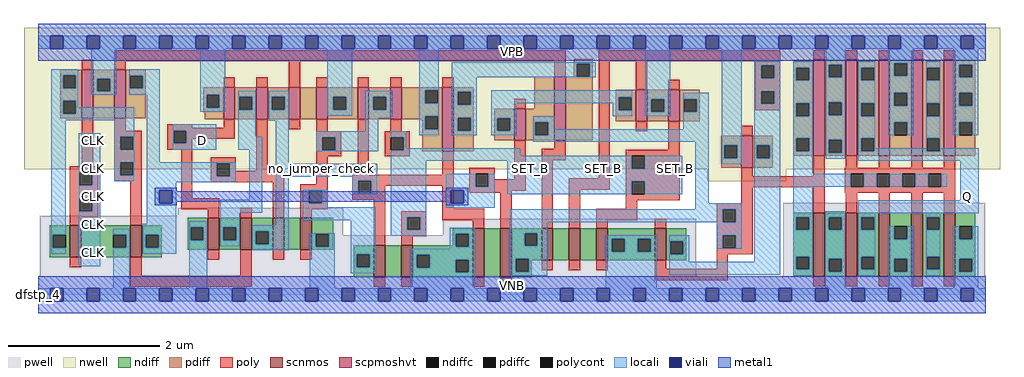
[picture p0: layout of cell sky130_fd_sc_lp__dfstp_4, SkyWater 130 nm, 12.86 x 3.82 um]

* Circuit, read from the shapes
.subckt sky130_fd_sc_lp__dfstp_4 CLK D SET_B VGND VNB VPB VPWR Q
XM1 VGND CLK n1 VNB sky130_fd_pr__nfet_01v8 w=0.42 l=0.15
XM2 n2 n1 VGND VNB sky130_fd_pr__nfet_01v8 w=0.42 l=0.15
XM3 n3 D VGND VNB sky130_fd_pr__nfet_01v8 w=0.42 l=0.15
XM4 n4 n1 n3 VNB sky130_fd_pr__nfet_01v8 w=0.42 l=0.15
XM5 n5 n2 n4 VNB sky130_fd_pr__nfet_01v8 w=0.42 l=0.15
XM6 VGND n6 n5 VNB sky130_fd_pr__nfet_01v8 w=0.42 l=0.15
XM7 n7 n4 n6 VNB sky130_fd_pr__nfet_01v8 w=0.42 l=0.15
XM8 VGND SET_B n7 VNB sky130_fd_pr__nfet_01v8 w=0.42 l=0.15
XM9 n8 n4 VGND VNB sky130_fd_pr__nfet_01v8 w=0.64 l=0.15
XM10 n9 n2 n8 VNB sky130_fd_pr__nfet_01v8 w=0.64 l=0.15
XM11 n10 n1 n9 VNB sky130_fd_pr__nfet_01v8 w=0.42 l=0.15
XM12 n11 n12 n10 VNB sky130_fd_pr__nfet_01v8 w=0.42 l=0.15
XM13 VGND SET_B n11 VNB sky130_fd_pr__nfet_01v8 w=0.42 l=0.15
XM14 n12 n9 VGND VNB sky130_fd_pr__nfet_01v8 w=0.42 l=0.15
XM15 VGND n9 n13 VNB sky130_fd_pr__nfet_01v8 w=0.84 l=0.15
XM16 Q n13 VGND VNB sky130_fd_pr__nfet_01v8 w=0.84 l=0.15 m=4
XM17 VPWR CLK n1 VPB sky130_fd_pr__pfet_01v8_hvt w=0.64 l=0.15
XM18 n2 n1 VPWR VPB sky130_fd_pr__pfet_01v8_hvt w=0.64 l=0.15
XM19 n3 D VPWR VPB sky130_fd_pr__pfet_01v8_hvt w=0.42 l=0.15
XM20 n4 n2 n3 VPB sky130_fd_pr__pfet_01v8_hvt w=0.42 l=0.15
XM21 n14 n1 n4 VPB sky130_fd_pr__pfet_01v8_hvt w=0.42 l=0.15
XM22 VPWR n6 n14 VPB sky130_fd_pr__pfet_01v8_hvt w=0.42 l=0.15
XM23 n6 n4 VPWR VPB sky130_fd_pr__pfet_01v8_hvt w=0.42 l=0.15
XM24 VPWR SET_B n6 VPB sky130_fd_pr__pfet_01v8_hvt w=0.42 l=0.15
XM25 n15 n4 VPWR VPB sky130_fd_pr__pfet_01v8_hvt w=0.84 l=0.15
XM26 n9 n2 n16 VPB sky130_fd_pr__pfet_01v8_hvt w=0.42 l=0.15
XM27 n15 n1 n9 VPB sky130_fd_pr__pfet_01v8_hvt w=0.84 l=0.15
XM28 VPWR n12 n16 VPB sky130_fd_pr__pfet_01v8_hvt w=0.42 l=0.15
XM29 n9 SET_B VPWR VPB sky130_fd_pr__pfet_01v8_hvt w=0.42 l=0.15
XM30 n12 n9 VPWR VPB sky130_fd_pr__pfet_01v8_hvt w=0.42 l=0.15
XM31 VPWR n9 n13 VPB sky130_fd_pr__pfet_01v8_hvt w=1.26 l=0.15
XM32 Q n13 VPWR VPB sky130_fd_pr__pfet_01v8_hvt w=1.26 l=0.15 m=4
.ends

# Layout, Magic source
magic
tech sky130A
magscale 1 2
<< nwell >>
rect -38 331 2534 704
rect 1763 299 1971 331
<< pwell >>
rect 367 209 803 229
rect 4 157 803 209
rect 1066 157 1733 201
rect 4 49 1733 157
rect 1963 49 2495 243
rect 0 0 2496 49
<< scnmos >>
rect 83 99 113 183
rect 242 99 272 183
rect 446 119 476 203
rect 532 119 562 203
rect 618 119 648 203
rect 690 119 720 203
rect 884 47 914 131
rect 956 47 986 131
rect 1145 47 1175 175
rect 1217 47 1247 175
rect 1326 91 1356 175
rect 1398 91 1428 175
rect 1470 91 1500 175
rect 1624 91 1654 175
rect 2042 49 2072 217
rect 2128 49 2158 217
rect 2214 49 2244 217
rect 2300 49 2330 217
rect 2386 49 2416 217
<< scpmoshvt >>
rect 114 465 144 593
rect 200 465 230 593
rect 488 463 518 547
rect 574 463 604 547
rect 660 463 690 547
rect 732 463 762 547
rect 841 463 871 547
rect 927 463 957 547
rect 1064 379 1094 547
rect 1254 407 1284 491
rect 1359 407 1389 575
rect 1574 457 1604 541
rect 1660 457 1690 541
rect 1852 335 1882 419
rect 2042 367 2072 619
rect 2128 367 2158 619
rect 2214 367 2244 619
rect 2300 367 2330 619
rect 2386 367 2416 619
<< ndiff >>
rect 30 158 83 183
rect 30 124 38 158
rect 72 124 83 158
rect 30 99 83 124
rect 113 158 242 183
rect 113 124 197 158
rect 231 124 242 158
rect 113 99 242 124
rect 272 158 325 183
rect 272 124 283 158
rect 317 124 325 158
rect 272 99 325 124
rect 393 178 446 203
rect 393 144 401 178
rect 435 144 446 178
rect 393 119 446 144
rect 476 178 532 203
rect 476 144 487 178
rect 521 144 532 178
rect 476 119 532 144
rect 562 167 618 203
rect 562 133 573 167
rect 607 133 618 167
rect 562 119 618 133
rect 648 119 690 203
rect 720 161 777 203
rect 720 127 731 161
rect 765 127 777 161
rect 1092 161 1145 175
rect 1092 131 1100 161
rect 720 119 777 127
rect 831 107 884 131
rect 831 73 839 107
rect 873 73 884 107
rect 831 47 884 73
rect 914 47 956 131
rect 986 127 1100 131
rect 1134 127 1145 161
rect 986 106 1145 127
rect 986 72 997 106
rect 1031 93 1145 106
rect 1031 72 1100 93
rect 986 59 1100 72
rect 1134 59 1145 93
rect 986 47 1145 59
rect 1175 47 1217 175
rect 1247 163 1326 175
rect 1247 129 1281 163
rect 1315 129 1326 163
rect 1247 95 1326 129
rect 1247 61 1258 95
rect 1292 91 1326 95
rect 1356 91 1398 175
rect 1428 91 1470 175
rect 1500 148 1624 175
rect 1500 114 1511 148
rect 1545 114 1579 148
rect 1613 114 1624 148
rect 1500 91 1624 114
rect 1654 141 1707 175
rect 1654 107 1665 141
rect 1699 107 1707 141
rect 1654 91 1707 107
rect 1989 205 2042 217
rect 1989 171 1997 205
rect 2031 171 2042 205
rect 1292 61 1300 91
rect 1247 47 1300 61
rect 1989 101 2042 171
rect 1989 67 1997 101
rect 2031 67 2042 101
rect 1989 49 2042 67
rect 2072 205 2128 217
rect 2072 171 2083 205
rect 2117 171 2128 205
rect 2072 95 2128 171
rect 2072 61 2083 95
rect 2117 61 2128 95
rect 2072 49 2128 61
rect 2158 205 2214 217
rect 2158 171 2169 205
rect 2203 171 2214 205
rect 2158 101 2214 171
rect 2158 67 2169 101
rect 2203 67 2214 101
rect 2158 49 2214 67
rect 2244 181 2300 217
rect 2244 147 2255 181
rect 2289 147 2300 181
rect 2244 95 2300 147
rect 2244 61 2255 95
rect 2289 61 2300 95
rect 2244 49 2300 61
rect 2330 205 2386 217
rect 2330 171 2341 205
rect 2375 171 2386 205
rect 2330 101 2386 171
rect 2330 67 2341 101
rect 2375 67 2386 101
rect 2330 49 2386 67
rect 2416 181 2469 217
rect 2416 147 2427 181
rect 2461 147 2469 181
rect 2416 95 2469 147
rect 2416 61 2427 95
rect 2461 61 2469 95
rect 2416 49 2469 61
<< pdiff >>
rect 57 579 114 593
rect 57 545 65 579
rect 99 545 114 579
rect 57 511 114 545
rect 57 477 65 511
rect 99 477 114 511
rect 57 465 114 477
rect 144 570 200 593
rect 144 536 155 570
rect 189 536 200 570
rect 144 465 200 536
rect 230 578 283 593
rect 230 544 241 578
rect 275 544 283 578
rect 1411 609 1461 621
rect 1411 575 1419 609
rect 1453 575 1461 609
rect 230 465 283 544
rect 435 527 488 547
rect 435 493 443 527
rect 477 493 488 527
rect 435 481 488 493
rect 438 463 488 481
rect 518 522 574 547
rect 518 488 529 522
rect 563 488 574 522
rect 518 463 574 488
rect 604 522 660 547
rect 604 488 615 522
rect 649 488 660 522
rect 604 463 660 488
rect 690 463 732 547
rect 762 522 841 547
rect 762 488 777 522
rect 811 488 841 522
rect 762 463 841 488
rect 871 522 927 547
rect 871 488 882 522
rect 916 488 927 522
rect 871 463 927 488
rect 957 539 1064 547
rect 957 505 1019 539
rect 1053 505 1064 539
rect 957 471 1064 505
rect 957 463 1019 471
rect 1011 437 1019 463
rect 1053 437 1064 471
rect 1011 379 1064 437
rect 1094 535 1147 547
rect 1094 501 1105 535
rect 1139 501 1147 535
rect 1094 467 1147 501
rect 1306 491 1359 575
rect 1094 433 1105 467
rect 1139 433 1147 467
rect 1094 379 1147 433
rect 1201 466 1254 491
rect 1201 432 1209 466
rect 1243 432 1254 466
rect 1201 407 1254 432
rect 1284 455 1359 491
rect 1284 421 1309 455
rect 1343 421 1359 455
rect 1284 407 1359 421
rect 1389 407 1461 575
rect 1521 521 1574 541
rect 1521 487 1529 521
rect 1563 487 1574 521
rect 1521 457 1574 487
rect 1604 516 1660 541
rect 1604 482 1615 516
rect 1649 482 1660 516
rect 1604 457 1660 482
rect 1690 516 1743 541
rect 1690 482 1701 516
rect 1735 482 1743 516
rect 1989 599 2042 619
rect 1989 565 1997 599
rect 2031 565 2042 599
rect 1989 505 2042 565
rect 1690 457 1743 482
rect 1989 471 1997 505
rect 2031 471 2042 505
rect 1799 394 1852 419
rect 1799 360 1807 394
rect 1841 360 1852 394
rect 1799 335 1852 360
rect 1882 394 1935 419
rect 1882 360 1893 394
rect 1927 360 1935 394
rect 1989 413 2042 471
rect 1989 379 1997 413
rect 2031 379 2042 413
rect 1989 367 2042 379
rect 2072 607 2128 619
rect 2072 573 2083 607
rect 2117 573 2128 607
rect 2072 507 2128 573
rect 2072 473 2083 507
rect 2117 473 2128 507
rect 2072 409 2128 473
rect 2072 375 2083 409
rect 2117 375 2128 409
rect 2072 367 2128 375
rect 2158 599 2214 619
rect 2158 565 2169 599
rect 2203 565 2214 599
rect 2158 505 2214 565
rect 2158 471 2169 505
rect 2203 471 2214 505
rect 2158 413 2214 471
rect 2158 379 2169 413
rect 2203 379 2214 413
rect 2158 367 2214 379
rect 2244 611 2300 619
rect 2244 577 2255 611
rect 2289 577 2300 611
rect 2244 533 2300 577
rect 2244 499 2255 533
rect 2289 499 2300 533
rect 2244 455 2300 499
rect 2244 421 2255 455
rect 2289 421 2300 455
rect 2244 367 2300 421
rect 2330 599 2386 619
rect 2330 565 2341 599
rect 2375 565 2386 599
rect 2330 505 2386 565
rect 2330 471 2341 505
rect 2375 471 2386 505
rect 2330 413 2386 471
rect 2330 379 2341 413
rect 2375 379 2386 413
rect 2330 367 2386 379
rect 2416 607 2469 619
rect 2416 573 2427 607
rect 2461 573 2469 607
rect 2416 533 2469 573
rect 2416 499 2427 533
rect 2461 499 2469 533
rect 2416 455 2469 499
rect 2416 421 2427 455
rect 2461 421 2469 455
rect 2416 367 2469 421
rect 1882 335 1935 360
<< ndiffc >>
rect 38 124 72 158
rect 197 124 231 158
rect 283 124 317 158
rect 401 144 435 178
rect 487 144 521 178
rect 573 133 607 167
rect 731 127 765 161
rect 839 73 873 107
rect 1100 127 1134 161
rect 997 72 1031 106
rect 1100 59 1134 93
rect 1281 129 1315 163
rect 1258 61 1292 95
rect 1511 114 1545 148
rect 1579 114 1613 148
rect 1665 107 1699 141
rect 1997 171 2031 205
rect 1997 67 2031 101
rect 2083 171 2117 205
rect 2083 61 2117 95
rect 2169 171 2203 205
rect 2169 67 2203 101
rect 2255 147 2289 181
rect 2255 61 2289 95
rect 2341 171 2375 205
rect 2341 67 2375 101
rect 2427 147 2461 181
rect 2427 61 2461 95
<< pdiffc >>
rect 65 545 99 579
rect 65 477 99 511
rect 155 536 189 570
rect 241 544 275 578
rect 1419 575 1453 609
rect 443 493 477 527
rect 529 488 563 522
rect 615 488 649 522
rect 777 488 811 522
rect 882 488 916 522
rect 1019 505 1053 539
rect 1019 437 1053 471
rect 1105 501 1139 535
rect 1105 433 1139 467
rect 1209 432 1243 466
rect 1309 421 1343 455
rect 1529 487 1563 521
rect 1615 482 1649 516
rect 1701 482 1735 516
rect 1997 565 2031 599
rect 1997 471 2031 505
rect 1807 360 1841 394
rect 1893 360 1927 394
rect 1997 379 2031 413
rect 2083 573 2117 607
rect 2083 473 2117 507
rect 2083 375 2117 409
rect 2169 565 2203 599
rect 2169 471 2203 505
rect 2169 379 2203 413
rect 2255 577 2289 611
rect 2255 499 2289 533
rect 2255 421 2289 455
rect 2341 565 2375 599
rect 2341 471 2375 505
rect 2341 379 2375 413
rect 2427 573 2461 607
rect 2427 499 2461 533
rect 2427 421 2461 455
<< poly >>
rect 114 593 144 619
rect 200 615 1389 645
rect 200 593 230 615
rect 488 547 518 573
rect 574 547 604 573
rect 660 547 690 615
rect 1359 575 1389 615
rect 732 547 762 573
rect 841 547 871 573
rect 927 547 957 573
rect 1064 547 1094 573
rect 114 339 144 465
rect 200 433 230 465
rect 340 441 406 449
rect 488 441 518 463
rect 340 433 518 441
rect 200 417 272 433
rect 200 383 216 417
rect 250 383 272 417
rect 340 399 356 433
rect 390 411 518 433
rect 390 399 406 411
rect 340 383 406 399
rect 200 349 272 383
rect 83 323 158 339
rect 83 289 108 323
rect 142 289 158 323
rect 200 315 216 349
rect 250 315 272 349
rect 200 299 272 315
rect 83 255 158 289
rect 83 221 108 255
rect 142 221 158 255
rect 83 205 158 221
rect 83 183 113 205
rect 242 183 272 299
rect 376 255 406 383
rect 454 347 520 363
rect 454 313 470 347
rect 504 327 520 347
rect 574 327 604 463
rect 660 437 690 463
rect 732 431 762 463
rect 732 415 798 431
rect 732 381 748 415
rect 782 381 798 415
rect 732 365 798 381
rect 504 313 648 327
rect 454 297 648 313
rect 376 225 476 255
rect 446 203 476 225
rect 532 203 562 229
rect 618 203 648 297
rect 732 291 762 365
rect 841 317 871 463
rect 927 431 957 463
rect 913 415 979 431
rect 913 381 929 415
rect 963 381 979 415
rect 913 365 979 381
rect 1254 491 1284 517
rect 1476 615 1955 645
rect 2042 619 2072 645
rect 2128 619 2158 645
rect 2214 619 2244 645
rect 2300 619 2330 645
rect 2386 619 2416 645
rect 1064 317 1094 379
rect 690 275 762 291
rect 690 241 712 275
rect 746 241 762 275
rect 827 301 1094 317
rect 827 267 843 301
rect 877 287 1094 301
rect 877 267 914 287
rect 827 251 914 267
rect 690 225 762 241
rect 690 203 720 225
rect 884 131 914 251
rect 1064 227 1094 287
rect 1136 319 1202 335
rect 1136 285 1152 319
rect 1186 305 1202 319
rect 1254 305 1284 407
rect 1359 385 1389 407
rect 1186 285 1284 305
rect 1136 275 1284 285
rect 1326 355 1389 385
rect 1136 269 1247 275
rect 956 205 1022 221
rect 956 171 972 205
rect 1006 171 1022 205
rect 1064 197 1175 227
rect 1145 175 1175 197
rect 1217 175 1247 269
rect 1326 175 1356 355
rect 1476 307 1506 615
rect 1574 541 1604 615
rect 1889 605 1955 615
rect 1889 571 1905 605
rect 1939 571 1955 605
rect 1660 541 1690 567
rect 1889 537 1955 571
rect 1889 503 1905 537
rect 1939 503 1955 537
rect 1889 487 1955 503
rect 1574 431 1604 457
rect 1660 383 1690 457
rect 1852 419 1882 445
rect 1398 277 1506 307
rect 1548 367 1690 383
rect 1548 333 1564 367
rect 1598 333 1690 367
rect 1548 299 1690 333
rect 1398 175 1428 277
rect 1548 265 1564 299
rect 1598 265 1690 299
rect 1548 249 1690 265
rect 1852 313 1882 335
rect 2042 313 2072 367
rect 2128 335 2158 367
rect 2214 335 2244 367
rect 2300 335 2330 367
rect 2386 335 2416 367
rect 1852 283 2072 313
rect 1548 227 1578 249
rect 1852 241 1882 283
rect 1470 197 1578 227
rect 1787 225 1882 241
rect 1470 175 1500 197
rect 1624 175 1654 201
rect 1787 191 1803 225
rect 1837 191 1882 225
rect 2042 217 2072 283
rect 2125 319 2416 335
rect 2125 285 2141 319
rect 2175 285 2209 319
rect 2243 285 2277 319
rect 2311 285 2345 319
rect 2379 285 2416 319
rect 2125 269 2416 285
rect 2128 217 2158 269
rect 2214 217 2244 269
rect 2300 217 2330 269
rect 2386 217 2416 269
rect 956 155 1022 171
rect 956 131 986 155
rect 83 73 113 99
rect 242 51 272 99
rect 446 93 476 119
rect 532 51 562 119
rect 618 93 648 119
rect 690 93 720 119
rect 242 21 562 51
rect 1787 157 1882 191
rect 1787 123 1803 157
rect 1837 123 1882 157
rect 1787 107 1882 123
rect 1326 65 1356 91
rect 1398 65 1428 91
rect 1470 65 1500 91
rect 1624 69 1654 91
rect 1787 69 1817 107
rect 884 21 914 47
rect 956 21 986 47
rect 1145 21 1175 47
rect 1217 21 1247 47
rect 1624 39 1817 69
rect 2042 23 2072 49
rect 2128 23 2158 49
rect 2214 23 2244 49
rect 2300 23 2330 49
rect 2386 23 2416 49
<< polycont >>
rect 216 383 250 417
rect 356 399 390 433
rect 108 289 142 323
rect 216 315 250 349
rect 108 221 142 255
rect 470 313 504 347
rect 748 381 782 415
rect 929 381 963 415
rect 712 241 746 275
rect 843 267 877 301
rect 1152 285 1186 319
rect 972 171 1006 205
rect 1905 571 1939 605
rect 1905 503 1939 537
rect 1564 333 1598 367
rect 1564 265 1598 299
rect 1803 191 1837 225
rect 2141 285 2175 319
rect 2209 285 2243 319
rect 2277 285 2311 319
rect 2345 285 2379 319
rect 1803 123 1837 157
<< locali >>
rect 0 649 31 683
rect 65 649 127 683
rect 161 649 223 683
rect 257 649 319 683
rect 353 649 415 683
rect 449 649 511 683
rect 545 649 607 683
rect 641 649 703 683
rect 737 649 799 683
rect 833 649 895 683
rect 929 649 991 683
rect 1025 649 1087 683
rect 1121 649 1183 683
rect 1217 649 1279 683
rect 1313 649 1375 683
rect 1409 649 1471 683
rect 1505 649 1567 683
rect 1601 649 1663 683
rect 1697 649 1759 683
rect 1793 649 1855 683
rect 1889 649 1951 683
rect 1985 649 2047 683
rect 2081 649 2143 683
rect 2177 649 2239 683
rect 2273 649 2335 683
rect 2369 649 2431 683
rect 2465 649 2496 683
rect 34 579 105 595
rect 34 545 65 579
rect 99 545 105 579
rect 34 511 105 545
rect 139 570 205 649
rect 139 536 155 570
rect 189 536 205 570
rect 139 528 205 536
rect 239 578 320 594
rect 239 544 241 578
rect 275 544 320 578
rect 239 528 320 544
rect 34 477 65 511
rect 99 494 105 511
rect 99 477 252 494
rect 34 460 252 477
rect 34 158 72 460
rect 34 124 38 158
rect 34 108 72 124
rect 106 323 163 426
rect 106 289 108 323
rect 142 289 163 323
rect 200 417 252 460
rect 200 383 216 417
rect 250 383 252 417
rect 200 349 252 383
rect 200 315 216 349
rect 250 315 252 349
rect 200 299 252 315
rect 286 349 320 528
rect 427 527 493 649
rect 427 493 443 527
rect 477 493 493 527
rect 427 483 493 493
rect 527 522 573 538
rect 527 488 529 522
rect 563 488 573 522
rect 354 433 468 449
rect 354 399 356 433
rect 390 399 468 433
rect 354 383 468 399
rect 527 417 573 488
rect 607 522 660 538
rect 607 488 615 522
rect 649 488 660 522
rect 607 459 660 488
rect 761 522 827 649
rect 1003 539 1055 649
rect 761 488 777 522
rect 811 488 827 522
rect 761 472 827 488
rect 861 522 932 538
rect 861 488 882 522
rect 916 488 932 522
rect 527 383 590 417
rect 286 347 520 349
rect 286 313 470 347
rect 504 313 520 347
rect 106 255 163 289
rect 106 221 108 255
rect 142 221 163 255
rect 106 76 163 221
rect 286 297 520 313
rect 286 276 363 297
rect 286 242 319 276
rect 353 242 363 276
rect 556 251 590 383
rect 286 187 363 242
rect 479 217 590 251
rect 626 345 660 459
rect 861 465 932 488
rect 1003 505 1019 539
rect 1053 505 1055 539
rect 1003 471 1055 505
rect 861 431 895 465
rect 1003 437 1019 471
rect 1053 437 1055 471
rect 732 415 895 431
rect 732 381 748 415
rect 782 381 895 415
rect 732 379 895 381
rect 929 415 969 431
rect 1003 421 1055 437
rect 1089 609 1469 613
rect 1089 575 1419 609
rect 1453 575 1469 609
rect 1089 573 1469 575
rect 1089 535 1155 573
rect 1089 501 1105 535
rect 1139 501 1155 535
rect 1089 467 1155 501
rect 1089 433 1105 467
rect 1139 433 1155 467
rect 1089 421 1155 433
rect 1193 521 1565 539
rect 1193 505 1529 521
rect 1193 466 1259 505
rect 1513 487 1529 505
rect 1563 487 1565 521
rect 1513 471 1565 487
rect 1599 516 1665 649
rect 1599 482 1615 516
rect 1649 482 1665 516
rect 1599 471 1665 482
rect 1699 516 1767 532
rect 1699 482 1701 516
rect 1735 482 1767 516
rect 1193 432 1209 466
rect 1243 432 1259 466
rect 1193 421 1259 432
rect 1304 455 1359 471
rect 1304 421 1309 455
rect 1343 437 1359 455
rect 1699 437 1767 482
rect 1343 421 1767 437
rect 963 387 969 415
rect 1304 403 1767 421
rect 963 381 1270 387
rect 929 367 1270 381
rect 929 353 1564 367
rect 626 311 893 345
rect 197 158 241 174
rect 231 124 241 158
rect 197 17 241 124
rect 275 158 363 187
rect 275 124 283 158
rect 317 124 363 158
rect 275 108 363 124
rect 397 178 445 194
rect 397 144 401 178
rect 435 144 445 178
rect 397 17 445 144
rect 479 178 530 217
rect 626 183 660 311
rect 827 301 893 311
rect 696 275 762 277
rect 696 241 712 275
rect 746 241 762 275
rect 827 267 843 301
rect 877 267 893 301
rect 827 265 893 267
rect 696 231 762 241
rect 696 197 889 231
rect 479 144 487 178
rect 521 144 530 178
rect 479 128 530 144
rect 564 167 660 183
rect 564 133 573 167
rect 607 133 660 167
rect 564 117 660 133
rect 715 161 781 163
rect 715 127 731 161
rect 765 127 781 161
rect 715 17 781 127
rect 823 107 889 197
rect 929 205 1022 353
rect 1236 333 1564 353
rect 1598 333 1697 367
rect 1074 285 1152 319
rect 1186 285 1202 319
rect 1074 276 1202 285
rect 1074 242 1087 276
rect 1121 242 1202 276
rect 1236 299 1697 333
rect 1236 265 1564 299
rect 1598 265 1697 299
rect 1074 230 1202 242
rect 1731 241 1767 403
rect 1801 394 1853 649
rect 1801 360 1807 394
rect 1841 360 1853 394
rect 1801 344 1853 360
rect 1887 605 1955 615
rect 1887 571 1905 605
rect 1939 571 1955 605
rect 1887 537 1955 571
rect 1887 503 1905 537
rect 1939 503 1955 537
rect 1887 394 1955 503
rect 1887 360 1893 394
rect 1927 360 1955 394
rect 1731 225 1853 241
rect 929 171 972 205
rect 1006 171 1022 205
rect 1242 191 1803 225
rect 1837 191 1853 225
rect 929 156 1022 171
rect 1084 161 1150 177
rect 1084 127 1100 161
rect 1134 127 1150 161
rect 1084 122 1150 127
rect 823 73 839 107
rect 873 73 889 107
rect 823 57 889 73
rect 981 106 1150 122
rect 981 72 997 106
rect 1031 93 1150 106
rect 1031 72 1100 93
rect 981 59 1100 72
rect 1134 59 1150 93
rect 981 17 1150 59
rect 1242 163 1341 191
rect 1242 129 1281 163
rect 1315 129 1341 163
rect 1787 157 1853 191
rect 1242 95 1341 129
rect 1242 61 1258 95
rect 1292 61 1341 95
rect 1242 51 1341 61
rect 1495 148 1629 157
rect 1495 114 1511 148
rect 1545 114 1579 148
rect 1613 114 1629 148
rect 1495 17 1629 114
rect 1663 141 1715 157
rect 1663 107 1665 141
rect 1699 107 1715 141
rect 1787 123 1803 157
rect 1837 123 1853 157
rect 1787 121 1853 123
rect 1663 87 1715 107
rect 1887 87 1955 360
rect 1663 53 1955 87
rect 1989 599 2041 615
rect 1989 565 1997 599
rect 2031 565 2041 599
rect 1989 505 2041 565
rect 1989 471 1997 505
rect 2031 471 2041 505
rect 1989 413 2041 471
rect 1989 379 1997 413
rect 2031 379 2041 413
rect 1989 319 2041 379
rect 2075 607 2126 649
rect 2075 573 2083 607
rect 2117 573 2126 607
rect 2075 507 2126 573
rect 2075 473 2083 507
rect 2117 473 2126 507
rect 2075 409 2126 473
rect 2075 375 2083 409
rect 2117 375 2126 409
rect 2075 359 2126 375
rect 2160 599 2205 615
rect 2160 565 2169 599
rect 2203 565 2205 599
rect 2160 505 2205 565
rect 2160 471 2169 505
rect 2203 471 2205 505
rect 2160 413 2205 471
rect 2239 611 2305 649
rect 2239 577 2255 611
rect 2289 577 2305 611
rect 2239 533 2305 577
rect 2239 499 2255 533
rect 2289 499 2305 533
rect 2239 455 2305 499
rect 2239 421 2255 455
rect 2289 421 2305 455
rect 2339 599 2377 615
rect 2339 565 2341 599
rect 2375 565 2377 599
rect 2339 505 2377 565
rect 2339 471 2341 505
rect 2375 471 2377 505
rect 2160 379 2169 413
rect 2203 387 2205 413
rect 2339 413 2377 471
rect 2411 607 2477 649
rect 2411 573 2427 607
rect 2461 573 2477 607
rect 2411 533 2477 573
rect 2411 499 2427 533
rect 2461 499 2477 533
rect 2411 455 2477 499
rect 2411 421 2427 455
rect 2461 421 2477 455
rect 2339 387 2341 413
rect 2203 379 2341 387
rect 2375 387 2377 413
rect 2375 379 2478 387
rect 2160 353 2478 379
rect 1989 285 2141 319
rect 2175 285 2209 319
rect 2243 285 2277 319
rect 2311 285 2345 319
rect 2379 285 2395 319
rect 1989 205 2040 285
rect 2429 249 2478 353
rect 1989 171 1997 205
rect 2031 171 2040 205
rect 1989 101 2040 171
rect 1989 67 1997 101
rect 2031 67 2040 101
rect 1989 51 2040 67
rect 2074 205 2126 221
rect 2074 171 2083 205
rect 2117 171 2126 205
rect 2074 95 2126 171
rect 2074 61 2083 95
rect 2117 61 2126 95
rect 2074 17 2126 61
rect 2160 215 2478 249
rect 2160 205 2205 215
rect 2160 171 2169 205
rect 2203 171 2205 205
rect 2339 205 2377 215
rect 2160 101 2205 171
rect 2160 67 2169 101
rect 2203 67 2205 101
rect 2160 51 2205 67
rect 2239 147 2255 181
rect 2289 147 2305 181
rect 2239 95 2305 147
rect 2239 61 2255 95
rect 2289 61 2305 95
rect 2239 17 2305 61
rect 2339 171 2341 205
rect 2375 171 2377 205
rect 2339 101 2377 171
rect 2339 67 2341 101
rect 2375 67 2377 101
rect 2339 51 2377 67
rect 2411 147 2427 181
rect 2461 147 2477 181
rect 2411 95 2477 147
rect 2411 61 2427 95
rect 2461 61 2477 95
rect 2411 17 2477 61
rect 0 -17 31 17
rect 65 -17 127 17
rect 161 -17 223 17
rect 257 -17 319 17
rect 353 -17 415 17
rect 449 -17 511 17
rect 545 -17 607 17
rect 641 -17 703 17
rect 737 -17 799 17
rect 833 -17 895 17
rect 929 -17 991 17
rect 1025 -17 1087 17
rect 1121 -17 1183 17
rect 1217 -17 1279 17
rect 1313 -17 1375 17
rect 1409 -17 1471 17
rect 1505 -17 1567 17
rect 1601 -17 1663 17
rect 1697 -17 1759 17
rect 1793 -17 1855 17
rect 1889 -17 1951 17
rect 1985 -17 2047 17
rect 2081 -17 2143 17
rect 2177 -17 2239 17
rect 2273 -17 2335 17
rect 2369 -17 2431 17
rect 2465 -17 2496 17
<< viali >>
rect 31 649 65 683
rect 127 649 161 683
rect 223 649 257 683
rect 319 649 353 683
rect 415 649 449 683
rect 511 649 545 683
rect 607 649 641 683
rect 703 649 737 683
rect 799 649 833 683
rect 895 649 929 683
rect 991 649 1025 683
rect 1087 649 1121 683
rect 1183 649 1217 683
rect 1279 649 1313 683
rect 1375 649 1409 683
rect 1471 649 1505 683
rect 1567 649 1601 683
rect 1663 649 1697 683
rect 1759 649 1793 683
rect 1855 649 1889 683
rect 1951 649 1985 683
rect 2047 649 2081 683
rect 2143 649 2177 683
rect 2239 649 2273 683
rect 2335 649 2369 683
rect 2431 649 2465 683
rect 319 242 353 276
rect 1087 242 1121 276
rect 31 -17 65 17
rect 127 -17 161 17
rect 223 -17 257 17
rect 319 -17 353 17
rect 415 -17 449 17
rect 511 -17 545 17
rect 607 -17 641 17
rect 703 -17 737 17
rect 799 -17 833 17
rect 895 -17 929 17
rect 991 -17 1025 17
rect 1087 -17 1121 17
rect 1183 -17 1217 17
rect 1279 -17 1313 17
rect 1375 -17 1409 17
rect 1471 -17 1505 17
rect 1567 -17 1601 17
rect 1663 -17 1697 17
rect 1759 -17 1793 17
rect 1855 -17 1889 17
rect 1951 -17 1985 17
rect 2047 -17 2081 17
rect 2143 -17 2177 17
rect 2239 -17 2273 17
rect 2335 -17 2369 17
rect 2431 -17 2465 17
<< metal1 >>
rect 0 683 2496 715
rect 0 649 31 683
rect 65 649 127 683
rect 161 649 223 683
rect 257 649 319 683
rect 353 649 415 683
rect 449 649 511 683
rect 545 649 607 683
rect 641 649 703 683
rect 737 649 799 683
rect 833 649 895 683
rect 929 649 991 683
rect 1025 649 1087 683
rect 1121 649 1183 683
rect 1217 649 1279 683
rect 1313 649 1375 683
rect 1409 649 1471 683
rect 1505 649 1567 683
rect 1601 649 1663 683
rect 1697 649 1759 683
rect 1793 649 1855 683
rect 1889 649 1951 683
rect 1985 649 2047 683
rect 2081 649 2143 683
rect 2177 649 2239 683
rect 2273 649 2335 683
rect 2369 649 2431 683
rect 2465 649 2496 683
rect 0 617 2496 649
rect 307 276 365 282
rect 307 242 319 276
rect 353 273 365 276
rect 1075 276 1133 282
rect 1075 273 1087 276
rect 353 245 1087 273
rect 353 242 365 245
rect 307 236 365 242
rect 1075 242 1087 245
rect 1121 242 1133 276
rect 1075 236 1133 242
rect 0 17 2496 49
rect 0 -17 31 17
rect 65 -17 127 17
rect 161 -17 223 17
rect 257 -17 319 17
rect 353 -17 415 17
rect 449 -17 511 17
rect 545 -17 607 17
rect 641 -17 703 17
rect 737 -17 799 17
rect 833 -17 895 17
rect 929 -17 991 17
rect 1025 -17 1087 17
rect 1121 -17 1183 17
rect 1217 -17 1279 17
rect 1313 -17 1375 17
rect 1409 -17 1471 17
rect 1505 -17 1567 17
rect 1601 -17 1663 17
rect 1697 -17 1759 17
rect 1793 -17 1855 17
rect 1889 -17 1951 17
rect 1985 -17 2047 17
rect 2081 -17 2143 17
rect 2177 -17 2239 17
rect 2273 -17 2335 17
rect 2369 -17 2431 17
rect 2465 -17 2496 17
rect 0 -49 2496 -17
<< labels >>
flabel pwell s 0 0 2496 49 0 FreeSans 200 0 0 0 VNB
port 5 nsew ground bidirectional
flabel nwell s 0 617 2496 666 0 FreeSans 200 0 0 0 VPB
port 6 nsew power bidirectional
flabel comment s 745 332 745 332 0 FreeSans 200 90 0 0 no_jumper_check
rlabel comment s 0 0 0 0 4 dfstp_4
flabel metal1 s 0 617 2496 666 0 FreeSans 340 0 0 0 VPWR
port 7 nsew power bidirectional
flabel metal1 s 0 0 2496 49 0 FreeSans 340 0 0 0 VGND
port 4 nsew ground bidirectional
flabel locali s 1279 316 1313 350 0 FreeSans 340 0 0 0 SET_B
port 3 nsew signal input
flabel locali s 1375 316 1409 350 0 FreeSans 340 0 0 0 SET_B
port 3 nsew signal input
flabel locali s 1471 316 1505 350 0 FreeSans 340 0 0 0 SET_B
port 3 nsew signal input
flabel locali s 1567 316 1601 350 0 FreeSans 340 0 0 0 SET_B
port 3 nsew signal input
flabel locali s 1663 316 1697 350 0 FreeSans 340 0 0 0 SET_B
port 3 nsew signal input
flabel locali s 127 94 161 128 0 FreeSans 340 0 0 0 CLK
port 1 nsew clock input
flabel locali s 127 168 161 202 0 FreeSans 340 0 0 0 CLK
port 1 nsew clock input
flabel locali s 127 242 161 276 0 FreeSans 340 0 0 0 CLK
port 1 nsew clock input
flabel locali s 127 316 161 350 0 FreeSans 340 0 0 0 CLK
port 1 nsew clock input
flabel locali s 127 390 161 424 0 FreeSans 340 0 0 0 CLK
port 1 nsew clock input
flabel locali s 415 390 449 424 0 FreeSans 340 0 0 0 D
port 2 nsew signal input
flabel locali s 2431 242 2465 276 0 FreeSans 340 0 0 0 Q
port 8 nsew signal output
<< properties >>
string LEFsite unit
string LEFclass CORE
string FIXED_BBOX 0 0 2496 666
string GDS_FILE $PDKPATH/libs.ref/sky130_fd_sc_lp/gds/sky130_fd_sc_lp.gds
string LEFsymmetry X Y R90
string GDS_END 55838
string GDS_START 37570
<< end >>
